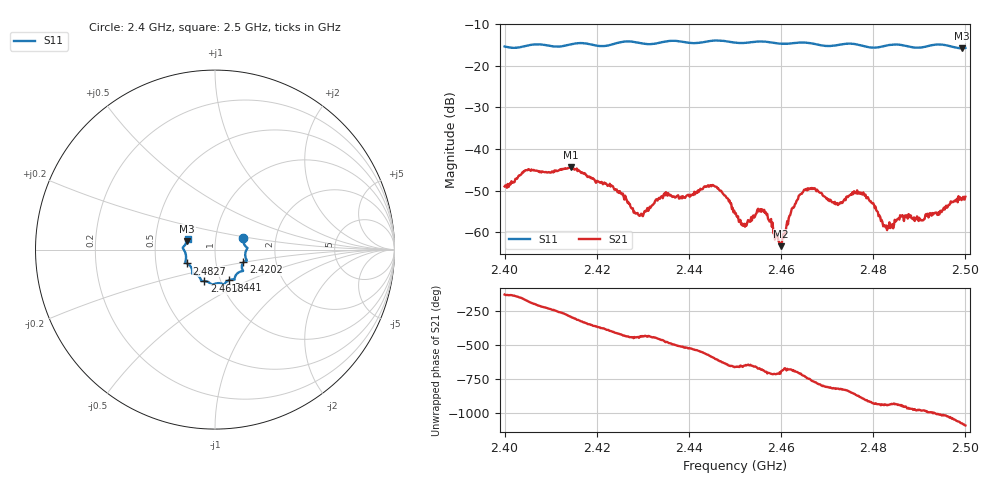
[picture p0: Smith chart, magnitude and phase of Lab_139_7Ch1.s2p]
# Hz S RI R 50
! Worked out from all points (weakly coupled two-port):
!   601 points, 2.4 GHz to 2.5 GHz, reference 50 ohm
!   highest |S21| = -44.37 dB at 2.4143 GHz (marker M1); lowest = -63.3 dB at 2.46 GHz (marker M2)
!   lowest |S11| = -15.8 dB at 2.4992 GHz (marker M3), VSWR 1.39, Z = 36.5 + j3.65 ohm
!   |S11| at or under -10 dB: start of sweep to end of sweep
!   S12 and S22 are empty: the file has one direction only
!   S11 on the Smith chart (normalised r, x): 2.4 GHz: 1.36, +0.18; 2.4202 GHz: 1.36, -0.20; 2.441 GHz: 1.10, -0.39; 2.4618 GHz: 0.84, -0.30; 2.4827 GHz: 0.72, -0.12; 2.5 GHz: 0.73, +0.09
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2.4e9  0.1585 0.0629  -0.00201 -0.00293  0 0  0 0
2.404833e9  0.1735 0.0149  -0.0055 -0.000984  0 0  0 0
2.414333e9  0.1734 -0.0518  0.00194 0.00573  0 0  0 0
2.416667e9  0.1771 -0.061  0.00415 0.00305  0 0  0 0
2.420167e9  0.1585 -0.0712  0.00411 -0.000393  0 0  0 0
2.4295e9  0.1415 -0.1226  0.00048 -0.00156  0 0  0 0
2.433333e9  0.1115 -0.1507  -9.71e-05 -0.0025  0 0  0 0
2.441e9  0.0788 -0.1696  -0.00277 -0.000409  0 0  0 0
2.4455e9  0.051 -0.1943  -0.00201 0.00296  0 0  0 0
2.45e9  0.0286 -0.1876  0.00084 0.00145  0 0  0 0
2.452e9  0.00815 -0.1879  0.000457 0.00118  0 0  0 0
2.456333e9  -0.0172 -0.1946  0.00161 0.000931  0 0  0 0
2.46e9  -0.0408 -0.1794  0.000606 0.000311  0 0  0 0
2.461833e9  -0.059 -0.1754  0.00119 0.00104  0 0  0 0
2.464333e9  -0.0747 -0.175  0.00287 0.000451  0 0  0 0
2.466667e9  -0.0788 -0.1683  0.00245 -0.00237  0 0  0 0
2.472333e9  -0.1157 -0.1349  -0.000423 -0.00208  0 0  0 0
2.477833e9  -0.127 -0.1172  -0.003 -0.000243  0 0  0 0
2.482667e9  -0.1559 -0.0773  -0.000854 0.000767  0 0  0 0
2.483333e9  -0.1602 -0.0751  -0.000843 0.000778  0 0  0 0
2.499167e9  -0.1547 0.0488  0.00243 7.06e-05  0 0  0 0
2.5e9  -0.1522 0.0604  0.00259 -0.000666  0 0  0 0
